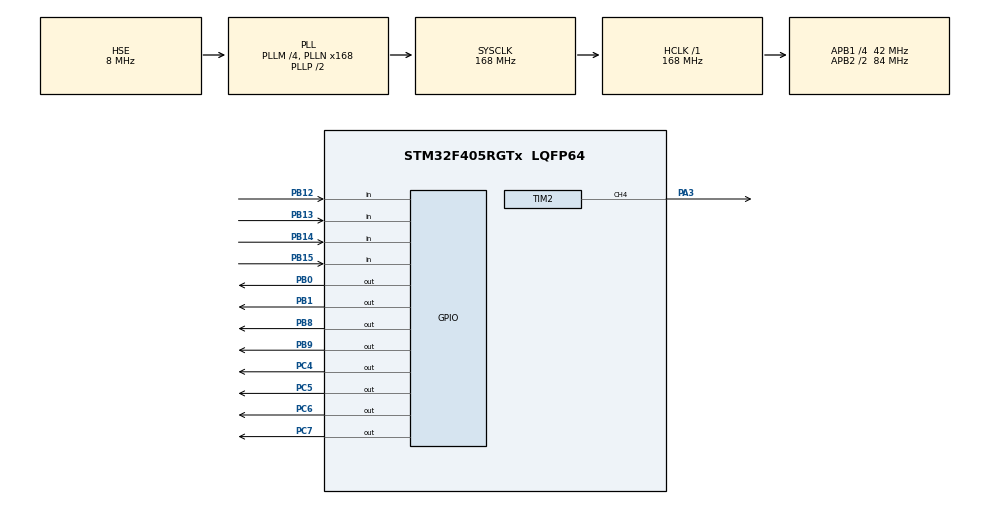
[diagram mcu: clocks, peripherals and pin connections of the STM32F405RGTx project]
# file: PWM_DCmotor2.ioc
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Mcu.Family=STM32F4
Mcu.Name=STM32F405RGTx
Mcu.Package=LQFP64
NVIC.PriorityGroup=NVIC_PRIORITYGROUP_4
PA13.Mode=Serial_Wire
PA13.Signal=SYS_JTMS-SWDIO
PA14.Mode=Serial_Wire
PA14.Signal=SYS_JTCK-SWCLK
PA3.Signal=S_TIM2_CH4
PB0.Signal=GPIO_Output
PB1.Signal=GPIO_Output
PB12.Signal=GPIO_Input
PB13.Signal=GPIO_Input
PB14.Signal=GPIO_Input
PB15.Signal=GPIO_Input
PB8.Signal=GPIO_Output
PB9.Signal=GPIO_Output
PC4.Signal=GPIO_Output
PC5.Signal=GPIO_Output
PC6.Signal=GPIO_Output
PC7.Signal=GPIO_Output
PH0-OSC_IN.Mode=HSE-External-Oscillator
PH0-OSC_IN.Signal=RCC_OSC_IN
PH1-OSC_OUT.Mode=HSE-External-Oscillator
PH1-OSC_OUT.Signal=RCC_OSC_OUT
ProjectManager.HeapSize=0x200
ProjectManager.StackSize=0x400
ProjectManager.TargetToolchain=EWARM V8.32
RCC.48MHZClocksFreq_Value=84000000
RCC.AHBFreq_Value=168000000
RCC.APB1CLKDivider=RCC_HCLK_DIV4
RCC.APB1Freq_Value=42000000
RCC.APB1TimFreq_Value=84000000
RCC.APB2CLKDivider=RCC_HCLK_DIV2
RCC.APB2Freq_Value=84000000
RCC.APB2TimFreq_Value=168000000
RCC.CortexFreq_Value=168000000
RCC.HCLKFreq_Value=168000000
RCC.HSE_VALUE=8000000
RCC.HSI_VALUE=16000000
RCC.LSE_VALUE=32768
RCC.PLLM=4
RCC.PLLN=168
RCC.PLLSourceVirtual=RCC_PLLSOURCE_HSE
RCC.SYSCLKFreq_VALUE=168000000
RCC.SYSCLKSource=RCC_SYSCLKSOURCE_PLLCLK
RCC.VCOOutputFreq_Value=336000000
SH.S_TIM2_CH4.0=TIM2_CH4,PWM Generation4 CH4
TIM2.Channel-PWM\ Generation4\ CH4=TIM_CHANNEL_4
TIM2.Period=100
TIM2.Prescaler=42
VP_TIM2_VS_ClockSourceINT.Mode=Internal
board=custom

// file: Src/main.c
/* USER CODE BEGIN Header */
/**
  ******************************************************************************
  * @file           : main.c
  * @brief          : Main program body
  ******************************************************************************
  * @attention
  *
  * <h2><center>&copy; Copyright (c) 2020 STMicroelectronics.
  * All rights reserved.</center></h2>
  *
  * This software component is licensed by ST under BSD 3-Clause license,
  * the "License"; You may not use this file except in compliance with the
  * License. You may obtain a copy of the License at:
  *                        opensource.org/licenses/BSD-3-Clause
  *
  ******************************************************************************
  */
/* USER CODE END Header */

#include "main.h"
#include "tim.h"
#include "gpio.h"

/* USER CODE BEGIN Includes */
#include "lcd.h"
#include "stdio.h"
/* USER CODE END Includes */

void SystemClock_Config(void);

int main(void)
{
  /* USER CODE BEGIN 1 */
  unsigned int pwmduty = 0;
  unsigned int cnt_dir = 0;
  char str[10];
  /* USER CODE END 1 */

  /* MCU Configuration--------------------------------------------------------*/

  /* Reset of all peripherals, Initializes the Flash interface and the Systick. */
  HAL_Init();

  /* Configure the system clock */
  SystemClock_Config();

  /* Initialize all configured peripherals */
  MX_GPIO_Init();
  MX_TIM2_Init();
  /* USER CODE BEGIN 2 */
  HAL_TIM_PWM_Start(&htim2, TIM_CHANNEL_4);

  HAL_GPIO_WritePin(GPIOB, GPIO_PIN_8, GPIO_PIN_SET);
  HAL_GPIO_WritePin(GPIOB, GPIO_PIN_9, GPIO_PIN_RESET);

  lcdInit();
  lcdGotoXY(0,0);
  lcdPrintData(" Duty: ", 7);
  /* USER CODE END 2 */

  /* Infinite loop */
  /* USER CODE BEGIN WHILE */
  while (1)
  {
    if(cnt_dir)
    {
      pwmduty--;
      if(pwmduty == 0)  cnt_dir = 0;
    }
    else
    {
      pwmduty++;
      if(pwmduty == 99) cnt_dir = 1;
    }
    TIM2->EGR &= ~(0X01);
    TIM2->CCR4 = pwmduty;
    TIM2->EGR |= (0X01);

    lcdGotoXY(7,0);
    sprintf(str, "%d %", pwmduty);
    lcdPrint(str);
    HAL_Delay(500);
    /* USER CODE END WHILE */

  }
}

void SystemClock_Config(void)
{
  RCC_OscInitTypeDef RCC_OscInitStruct = {0};
  RCC_ClkInitTypeDef RCC_ClkInitStruct = {0};

  /** Configure the main internal regulator output voltage
  */
  __HAL_RCC_PWR_CLK_ENABLE();
  __HAL_PWR_VOLTAGESCALING_CONFIG(PWR_REGULATOR_VOLTAGE_SCALE1);
  /** Initializes the CPU, AHB and APB busses clocks
  */
  RCC_OscInitStruct.OscillatorType = RCC_OSCILLATORTYPE_HSE;
  RCC_OscInitStruct.HSEState = RCC_HSE_ON;
  RCC_OscInitStruct.PLL.PLLState = RCC_PLL_ON;
  RCC_OscInitStruct.PLL.PLLSource = RCC_PLLSOURCE_HSE;
  RCC_OscInitStruct.PLL.PLLM = 4;
  RCC_OscInitStruct.PLL.PLLN = 168;
  RCC_OscInitStruct.PLL.PLLP = RCC_PLLP_DIV2;
  RCC_OscInitStruct.PLL.PLLQ = 4;
  if (HAL_RCC_OscConfig(&RCC_OscInitStruct) != HAL_OK)
  {
    Error_Handler();
  }
  /** Initializes the CPU, AHB and APB busses clocks
  */
  RCC_ClkInitStruct.ClockType = RCC_CLOCKTYPE_HCLK|RCC_CLOCKTYPE_SYSCLK
                              |RCC_CLOCKTYPE_PCLK1|RCC_CLOCKTYPE_PCLK2;
  RCC_ClkInitStruct.SYSCLKSource = RCC_SYSCLKSOURCE_PLLCLK;
  RCC_ClkInitStruct.AHBCLKDivider = RCC_SYSCLK_DIV1;
  RCC_ClkInitStruct.APB1CLKDivider = RCC_HCLK_DIV4;
  RCC_ClkInitStruct.APB2CLKDivider = RCC_HCLK_DIV2;

  if (HAL_RCC_ClockConfig(&RCC_ClkInitStruct, FLASH_LATENCY_5) != HAL_OK)
  {
    Error_Handler();
  }
}

void Error_Handler(void)
{
}

/************************ (C) COPYRIGHT STMicroelectronics *****END OF FILE****/
